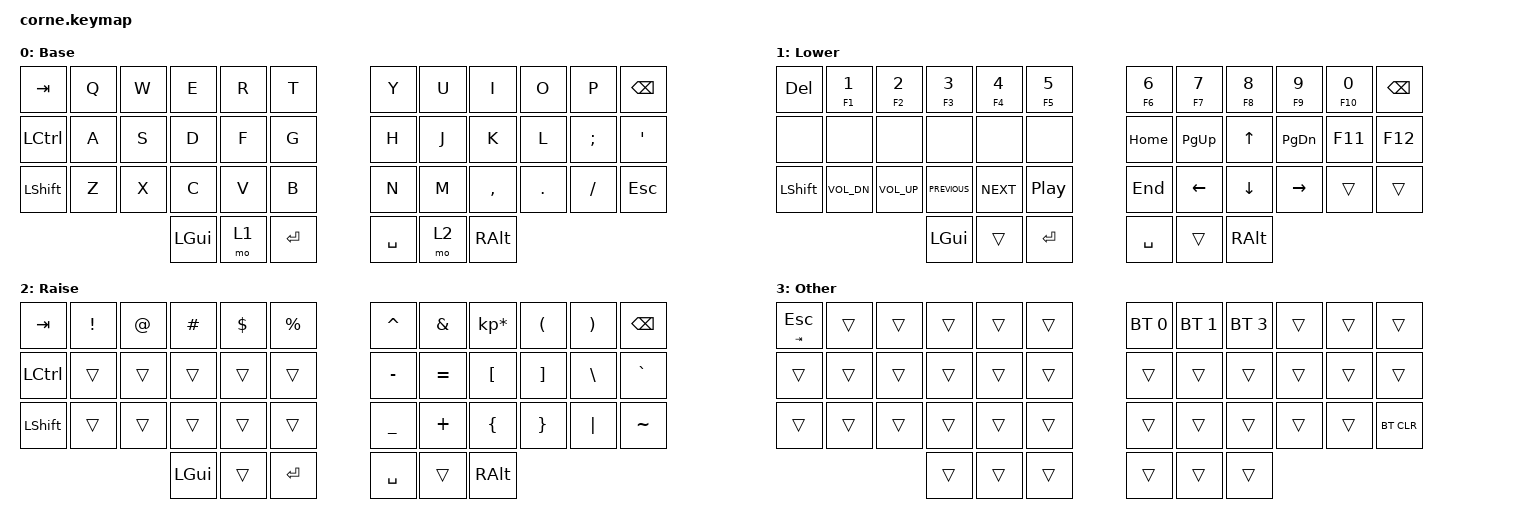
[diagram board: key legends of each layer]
/*
 * Copyright (c) 2020 The ZMK Contributors
 *
 * SPDX-License-Identifier: MIT
 */

#include <behaviors.dtsi>
#include <dt-bindings/zmk/bt.h>
#include <dt-bindings/zmk/keys.h>

/ {
    keymap {
        compatible = "zmk,keymap";

        default_layer {
            // -----------------------------------------------------------------------------------------
            // |  TAB |  Q  |  W  |  E  |  R  |  T  |   |  Y  |  U   |  I  |  O  |  P  | BKSP |
            // | CTRL |  A  |  S  |  D  |  F  |  G  |   |  H  |  J   |  K  |  L  |  ;  |  '   |
            // | SHFT |  Z  |  X  |  C  |  V  |  B  |   |  N  |  M   |  ,  |  .  |  /  | ESC  |
            //                    | GUI | LWR | SPC |   | ENT | RSE  | ALT |

            display-name = "Base";
            bindings = <
&kp TAB    &kp Q  &kp W  &kp E     &kp R  &kp T      &kp Y      &kp U  &kp I      &kp O    &kp P     &kp BSPC
&kp LCTRL  &kp A  &kp S  &kp D     &kp F  &kp G      &kp H      &kp J  &kp K      &kp L    &kp SEMI  &kp SQT
&kp LSHFT  &kp Z  &kp X  &kp C     &kp V  &kp B      &kp N      &kp M  &kp COMMA  &kp DOT  &kp FSLH  &kp ESC
                         &kp LGUI  &mo 1  &kp RET    &kp SPACE  &mo 2  &kp RALT
            >;
        };

        lower_layer {
            // -----------------------------------------------------------------------------------------
            // |  TAB |  1  |  2  |  3  |  4  |  5  |   |  6  |  7  |  8  |  9  |  0  | BKSP |
            // | BTCLR| BT1 | BT2 | BT3 | BT4 | BT5 |   | LFT | DWN |  UP | RGT |     |      |
            // | SHFT |     |     |     |     |     |   |     |     |     |     |     |      |
            //                    | GUI |     | SPC |   | ENT |     | ALT |

            display-name = "Lower";
            bindings = <
&kp DEL    &mt F1 NUMBER_1  &mt F2 NUMBER_2  &mt F3 NUMBER_3  &mt F4 NUMBER_4  &mt F5 NUMBER_5     &mt F6 N6  &mt F7 NUMBER_7  &mt F8 NUMBER_8  &mt F9 N9        &mt F10 N0  &kp BSPC
&none      &none            &none            &none            &none            &none               &kp HOME   &kp PAGE_UP      &kp UP_ARROW     &kp PAGE_DOWN    &kp F11     &kp F12
&kp LSHFT  &kp C_VOL_DN     &kp C_VOLUME_UP  &kp C_PREVIOUS   &kp C_NEXT       &kp C_PLAY_PAUSE    &kp END    &kp LEFT_ARROW   &kp DOWN_ARROW   &kp RIGHT_ARROW  &trans      &trans
                                             &kp LGUI         &trans           &kp RET             &kp SPACE  &trans           &kp RALT
            >;
        };

        raise_layer {
            // -----------------------------------------------------------------------------------------
            // |  TAB |  !  |  @  |  #  |  $  |  %  |   |  ^  |  &  |  *  |  (  |  )  | BKSP |
            // | CTRL |     |     |     |     |     |   |  -  |  =  |  [  |  ]  |  \  |  `   |
            // | SHFT |     |     |     |     |     |   |  _  |  +  |  {  |  }  | "|" |  ~   |
            //                    | GUI |     | SPC |   | ENT |     | ALT |

            display-name = "Raise";
            bindings = <
&kp TAB    &kp EXCL  &kp AT  &kp HASH  &kp DLLR  &kp PRCNT    &kp CARET  &kp AMPS   &kp KP_MULTIPLY  &kp LPAR  &kp RPAR  &kp BSPC
&kp LCTRL  &trans    &trans  &trans    &trans    &trans       &kp MINUS  &kp EQUAL  &kp LBKT         &kp RBKT  &kp BSLH  &kp GRAVE
&kp LSHFT  &trans    &trans  &trans    &trans    &trans       &kp UNDER  &kp PLUS   &kp LBRC         &kp RBRC  &kp PIPE  &kp TILDE
                             &kp LGUI  &trans    &kp ENTER    &kp SPACE  &trans     &kp RALT
            >;
        };

        Other {
            bindings = <
&mt TAB ESCAPE  &trans  &trans  &trans  &trans  &trans    &bt BT_SEL 0  &bt BT_SEL 1  &bt BT_SEL 3  &trans  &trans  &trans
&trans          &trans  &trans  &trans  &trans  &trans    &trans        &trans        &trans        &trans  &trans  &trans
&trans          &trans  &trans  &trans  &trans  &trans    &trans        &trans        &trans        &trans  &trans  &bt BT_CLR
                                &trans  &trans  &trans    &trans        &trans        &trans
            >;
        };
    };

    conditional_layers {
        compatible = "zmk,conditional-layers";

        Layer3 {
            if-layers = <1 2>;
            then-layer = <3>;
        };
    };
};
